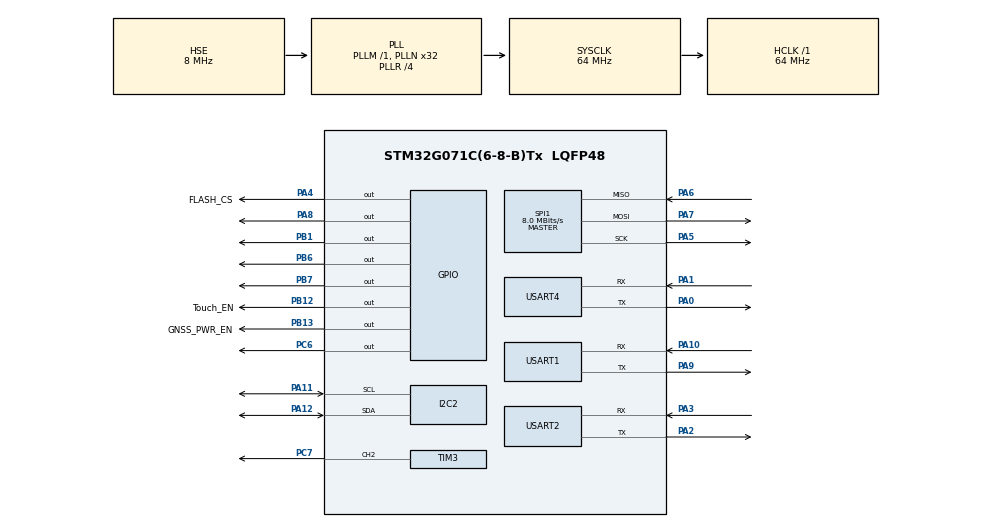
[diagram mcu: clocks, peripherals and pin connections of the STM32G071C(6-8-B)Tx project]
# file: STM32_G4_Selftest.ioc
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I2C2.Timing=0x10B17DB5
Mcu.Family=STM32G0
Mcu.Name=STM32G071C(6-8-B)Tx
Mcu.Package=LQFP48
NVIC.USART1_IRQn=true\:0\:0\:false\:false\:true\:true\:true\:true
NVIC.USART2_IRQn=true\:0\:0\:false\:false\:true\:true\:true\:true
NVIC.USART3_4_LPUART1_IRQn=true\:0\:0\:false\:false\:true\:true\:true\:true
PA0.Mode=Asynchronous
PA0.Signal=USART4_TX
PA1.Mode=Asynchronous
PA1.Signal=USART4_RX
PA10.Mode=Asynchronous
PA10.Signal=USART1_RX
PA11\ [PA9].Mode=I2C
PA11\ [PA9].Signal=I2C2_SCL
PA12\ [PA10].Mode=I2C
PA12\ [PA10].Signal=I2C2_SDA
PA13.Mode=Serial_Wire
PA13.Signal=SYS_SWDIO
PA14-BOOT0.Mode=Serial_Wire
PA14-BOOT0.Signal=SYS_SWCLK
PA2.Mode=Asynchronous
PA2.Signal=USART2_TX
PA3.Mode=Asynchronous
PA3.Signal=USART2_RX
PA4.GPIO_Label=FLASH_CS
PA4.Signal=GPIO_Output
PA5.Mode=Full_Duplex_Master
PA5.Signal=SPI1_SCK
PA6.Mode=Full_Duplex_Master
PA6.Signal=SPI1_MISO
PA7.Mode=Full_Duplex_Master
PA7.Signal=SPI1_MOSI
PA8.Signal=GPIO_Output
PA9.Mode=Asynchronous
PA9.Signal=USART1_TX
PB1.Signal=GPIO_Output
PB12.GPIO_Label=Touch_EN
PB12.PinState=GPIO_PIN_SET
PB12.Signal=GPIO_Output
PB13.GPIO_Label=GNSS_PWR_EN
PB13.PinState=GPIO_PIN_SET
PB13.Signal=GPIO_Output
PB6.Signal=GPIO_Output
PB7.Signal=GPIO_Output
PC14-OSC32_IN\ (PC14).Mode=LSE-External-Oscillator
PC14-OSC32_IN\ (PC14).Signal=RCC_OSC32_IN
PC15-OSC32_OUT\ (PC15).Mode=LSE-External-Oscillator
PC15-OSC32_OUT\ (PC15).Signal=RCC_OSC32_OUT
PC6.Signal=GPIO_Output
PC7.Signal=S_TIM3_CH2
PF0-OSC_IN\ (PF0).Mode=HSE-External-Oscillator
PF0-OSC_IN\ (PF0).Signal=RCC_OSC_IN
PF1-OSC_OUT\ (PF1).Mode=HSE-External-Oscillator
PF1-OSC_OUT\ (PF1).Signal=RCC_OSC_OUT
ProjectManager.HeapSize=0x200
ProjectManager.StackSize=0x400
ProjectManager.TargetToolchain=CMake
RCC.ADCFreq_Value=64000000
RCC.AHBFreq_Value=64000000
RCC.CortexFreq_Value=64000000
RCC.EXTERNAL_CLOCK_VALUE=48000
RCC.EnbaleCSS=true
RCC.HCLKFreq_Value=64000000
RCC.HSE_VALUE=8000000
RCC.HSI_VALUE=16000000
RCC.PLLN=32
RCC.PLLR=RCC_PLLR_DIV4
RCC.PLLSourceVirtual=RCC_PLLSOURCE_HSE
RCC.SYSCLKFreq_VALUE=64000000
RCC.SYSCLKSource=RCC_SYSCLKSOURCE_PLLCLK
RCC.USART2CLockSelection=RCC_USART2CLKSOURCE_SYSCLK
RCC.VCOOutputFreq_Value=256000000
SH.S_TIM3_CH2.0=TIM3_CH2,PWM Generation2 CH2
SPI1.BaudRatePrescaler=SPI_BAUDRATEPRESCALER_8
SPI1.CLKPhase=SPI_PHASE_1EDGE
SPI1.CLKPolarity=SPI_POLARITY_LOW
SPI1.CalculateBaudRate=8.0 MBits/s
SPI1.DataSize=SPI_DATASIZE_8BIT
SPI1.Direction=SPI_DIRECTION_2LINES
SPI1.FirstBit=SPI_FIRSTBIT_MSB
SPI1.Mode=SPI_MODE_MASTER
SPI1.NSSPMode=SPI_NSS_PULSE_DISABLE
SPI1.VirtualType=VM_MASTER
TIM3.Channel-PWM\ Generation2\ CH2=TIM_CHANNEL_2
TIM3.Period=999
TIM3.Prescaler=63
USART1.VirtualMode-Asynchronous=VM_ASYNC
USART2.VirtualMode-Asynchronous=VM_ASYNC
USART4.VirtualMode-Asynchronous=VM_ASYNC
VP_TIM3_VS_ClockSourceINT.Mode=Internal
board=custom

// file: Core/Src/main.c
/* USER CODE BEGIN Header */
/**
  ******************************************************************************
  * @file           : main.c
  * @brief          : Main program body
  ******************************************************************************
  * @attention
  *
  * Copyright (c) 2025 STMicroelectronics.
  * All rights reserved.
  *
  * This software is licensed under terms that can be found in the LICENSE file
  * in the root directory of this software component.
  * If no LICENSE file comes with this software, it is provided AS-IS.
  *
  ******************************************************************************
  */
/* USER CODE END Header */
#include "main.h"

/* USER CODE BEGIN Includes */
#include "SEGGER_RTT.h"
#include "w25q32.h"
#include "vk16k33.h"
#include "xw12.h"
#include <stdbool.h>
#include <stdio.h>
#include <stdarg.h>
#include "string.h"
/* USER CODE END Includes */

I2C_HandleTypeDef hi2c2;

SPI_HandleTypeDef hspi1;

TIM_HandleTypeDef htim3;

UART_HandleTypeDef huart1;
UART_HandleTypeDef huart2;
UART_HandleTypeDef huart4;

/* USER CODE BEGIN PV */
// 双缓冲区配置
//FOR uart1
#define RX_BUF_SIZE 256  // 增大缓冲区防止溢

uint8_t rx1_buf1[RX_BUF_SIZE];
uint8_t rx1_buf2[RX_BUF_SIZE];
uint8_t *active_buf1 = rx1_buf1;
uint16_t rx1_index = 0;
volatile bool buf1_ready = false;
uint8_t processing_buf1[RX_BUF_SIZE];

//for uart2
uint8_t rx2_buf1[RX_BUF_SIZE];
uint8_t rx2_buf2[RX_BUF_SIZE];
uint8_t *active_buf2 = rx2_buf1;
uint16_t rx2_index = 0;
volatile bool buf2_ready = false;
uint8_t processing_buf2[RX_BUF_SIZE];
/* USER CODE END PV */

void SystemClock_Config(void);
static void MX_GPIO_Init(void);
static void MX_USART2_UART_Init(void);
static void MX_USART1_UART_Init(void);
static void MX_TIM3_Init(void);
static void MX_SPI1_Init(void);
static void MX_I2C2_Init(void);
static void MX_USART4_UART_Init(void);

/* USER CODE BEGIN 0 */

/**
 * @brief  双输出函数：同时输出到RTT和UART4
 * @param  str: 要输出的字符串
 */
void DualOutput_WriteString(const char* str)
{
    // 输出到RTT
    SEGGER_RTT_WriteString(0, str);

    // 输出到UART4
    HAL_UART_Transmit(&huart4, (uint8_t*)str, strlen(str), 1000);
}

/**
 * @brief  双输出函数：同时输出到RTT和UART4（带格式化）
 * @param  format: 格式化字符串
 * @param  ...: 可变参数
 */
void DualOutput_Printf(const char* format, ...)
{
    char buffer[256];
    va_list args;
    va_start(args, format);
    vsnprintf(buffer, sizeof(buffer), format, args);
    va_end(args);

    // 输出到RTT
    SEGGER_RTT_WriteString(0, buffer);

    // 输出到UART4
    HAL_UART_Transmit(&huart4, (uint8_t*)buffer, strlen(buffer), 1000);
}

/**
 * @brief  打印测试结果总结报告
 * @param  gnss_result: GNSS测试结果
 * @param  flash_result: Flash测试结果
 * @param  vk16k33_result: VK16K33测试结果
 * @param  bluetooth_result: 蓝牙测试结果
 * @param  xw12_result: XW12测试结果
 */
void Print_TestSummary(uint8_t gnss_result, uint8_t flash_result, uint8_t vk16k33_result,
                       uint8_t bluetooth_result, uint8_t xw12_result)
{
    // 打印总的测试结果汇总
    DualOutput_WriteString("\r\n");
    DualOutput_WriteString("========================================\r\n");
    DualOutput_WriteString("          SELF-TEST SUMMARY REPORT       \r\n");
    DualOutput_WriteString("========================================\r\n");
    DualOutput_Printf("1. GNSS Module (UART1):      %s\r\n", gnss_result ? "PASSED" : "FAILED");
    DualOutput_Printf("2. W25Q32 Flash (SPI1):      %s\r\n", flash_result ? "PASSED" : "FAILED");
    DualOutput_Printf("3. VK16K33 Display (I2C2):   %s\r\n", vk16k33_result ? "PASSED" : "FAILED");
    DualOutput_Printf("4. Bluetooth Module (UART2): %s\r\n", bluetooth_result ? "PASSED" : "FAILED");
    DualOutput_Printf("5. XW12 Touch (I2C GPIO):    %s\r\n", xw12_result ? "PASSED" : "FAILED");
    DualOutput_WriteString("----------------------------------------\r\n");

    // 计算总体测试结果
    uint8_t total_passed = gnss_result + flash_result + vk16k33_result + bluetooth_result + xw12_result;
    bool all_tests_passed = (total_passed == 5);

    DualOutput_Printf("Total Tests Passed: %d/5\r\n", total_passed);
    DualOutput_Printf("Overall Result:     %s\r\n", all_tests_passed ? "PASSED" : "FAILED");
    DualOutput_WriteString("========================================\r\n");

    if(all_tests_passed) {
        DualOutput_WriteString("✓ ALL SYSTEMS OPERATIONAL\r\n");
    } else {
        DualOutput_WriteString("✗ SOME SYSTEMS FAILED - CHECK ABOVE\r\n");
    }
    DualOutput_WriteString("========================================\r\n\r\n");
}

/**
 * @brief  蓝牙模组UART2自测函数
 * @retval 0: 测试失败, 1: 测试成功
 */
uint8_t Bluetooth_SelfTest(void)
{
    SEGGER_RTT_WriteString(0, "=== Bluetooth Module Test Start ===\r\n");

    // 清空接收缓冲区
    memset(processing_buf2, 0, RX_BUF_SIZE);
    memset(active_buf2, 0, RX_BUF_SIZE);
    buf2_ready = false;
    rx2_index = 0;

    // 重新启动UART2中断接收（单字节模式）
    HAL_UART_Receive_IT(&huart2, &active_buf2[rx2_index], 1);

    // 发送AT+NAME?指令
    char at_command[] = "AT+NAME?\r\n";
    SEGGER_RTT_WriteString(0, "Sending: AT+NAME?\\r\\n\r\n");

    HAL_UART_Transmit(&huart2, (uint8_t*)at_command, strlen(at_command), 1000);

    // 等待响应（最多等待3秒）
    uint32_t timeout = HAL_GetTick() + 3000;
    bool response_received = false;

    while(HAL_GetTick() < timeout && !response_received) {
        if(buf2_ready) {
            // 复制接收到的数据到处理缓冲区
            uint8_t* completed_buf = (active_buf2 == rx2_buf1) ? rx2_buf2 : rx2_buf1;
            SEGGER_RTT_printf(0, "Received: %s\r\n", completed_buf);

            // 检查是否包含+NAME:响应
            if(strstr((char*)completed_buf, "+NAME:") != NULL) {
                SEGGER_RTT_WriteString(0, "Bluetooth response: PASSED\r\n");
                response_received = true;
            }

            // 重置缓冲区状态
            buf2_ready = false;
        }
        HAL_Delay(10);
    }

    if(!response_received) {
        SEGGER_RTT_WriteString(0, "Bluetooth response: FAILED (No +NAME: response)\r\n");
        SEGGER_RTT_WriteString(0, "=== Bluetooth Module Test: FAILED ===\r\n");
        return 0;
    }

    SEGGER_RTT_WriteString(0, "=== Bluetooth Module Test: PASSED ===\r\n");
    return 1;
}

/**
 * @brief  GNSS模组UART1自测函数
 * @retval 0: 测试失败, 1: 测试成功
 */
uint8_t GNSS_SelfTest(void)
{
    SEGGER_RTT_WriteString(0, "=== GNSS Module Test Start ===\r\n");

    // 清空接收缓冲区
    memset(processing_buf1, 0, RX_BUF_SIZE);
    memset(active_buf1, 0, RX_BUF_SIZE);
    buf1_ready = false;
    rx1_index = 0;

    // 启动UART1中断接收（单字节模式）
    HAL_UART_Receive_IT(&huart1, &active_buf1[rx1_index], 1);

    SEGGER_RTT_WriteString(0, "Waiting for GNSS NMEA messages...\r\n");

    // 等待NMEA数据（最多等待10秒）
    uint32_t timeout = HAL_GetTick() + 10000;
    bool nmea_received = false;
    uint8_t valid_message_count = 0;

    while(HAL_GetTick() < timeout && !nmea_received) {
        if(buf1_ready) {
            // 获取完成的缓冲区数据
            uint8_t* completed_buf = (active_buf1 == rx1_buf1) ? rx1_buf2 : rx1_buf1;

            // 检查是否包含有效的NMEA消息
            if(strstr((char*)completed_buf, "$GNGGA") != NULL ||
               strstr((char*)completed_buf, "$GNVTG") != NULL ||
               strstr((char*)completed_buf, "$GNRMC") != NULL ||
               strstr((char*)completed_buf, "$GNGLL") != NULL ||
               strstr((char*)completed_buf, "$GNGSA") != NULL) {

                valid_message_count++;
                SEGGER_RTT_printf(0, "Valid NMEA message #%d received\r\n", valid_message_count);

                // 收到至少2条有效NMEA消息就认为测试通过
                if(valid_message_count >= 2) {
                    SEGGER_RTT_WriteString(0, "GNSS NMEA messages: PASSED\r\n");
                    nmea_received = true;
                }
            }

            // 重置缓冲区状态
            buf1_ready = false;
        }
        HAL_Delay(100);  // 100ms检查间隔
    }

    if(!nmea_received) {
        SEGGER_RTT_WriteString(0, "GNSS response: FAILED (No valid NMEA messages)\r\n");
        SEGGER_RTT_WriteString(0, "=== GNSS Module Test: FAILED ===\r\n");
        return 0;
    }

    SEGGER_RTT_WriteString(0, "=== GNSS Module Test: PASSED ===\r\n");
    return 1;
}

/**
 * @brief  XW12触摸控制器自测函数
 * @retval 0: 测试失败, 1: 测试成功
 */
uint8_t XW12_SelfTest(void)
{
    SEGGER_RTT_WriteString(0, "=== XW12 Touch Controller Test Start ===\r\n");

    // 测试基础I2C通信
    uint16_t test_read = xw12ReadKey();
    SEGGER_RTT_printf(0, "Initial key read: 0x%04X\r\n", test_read);

    // 简单的通信测试 - 如果能读取到数据就认为通信正常
    // XW12在没有按键时通常返回0x0000，有按键时返回非零值
    SEGGER_RTT_WriteString(0, "XW12 I2C communication: PASSED\r\n");
    SEGGER_RTT_WriteString(0, "Note: Touch keys will be monitored in main loop\r\n");

    SEGGER_RTT_WriteString(0, "=== XW12 Touch Controller Test: PASSED ===\r\n");
    return 1;
}

/**
 * @brief  W25Q32 Flash 自测函数
 * @retval 0: 测试失败, 1: 测试成功
 */
uint8_t W25Q32_SelfTest(void)
{
    SEGGER_RTT_WriteString(0, "=== W25Q32 Flash Test Start ===\r\n");

    // 先测试SPI通信基础功能
    SEGGER_RTT_WriteString(0, "Testing SPI communication...\r\n");
    HAL_GPIO_WritePin(FLASH_CS_GPIO_Port, FLASH_CS_Pin, GPIO_PIN_SET);  // CS高
    HAL_Delay(10);
    HAL_GPIO_WritePin(FLASH_CS_GPIO_Port, FLASH_CS_Pin, GPIO_PIN_RESET);  // CS低
    uint8_t test_tx = 0x9F;  // JEDEC ID命令
    uint8_t test_rx = 0;
    HAL_SPI_TransmitReceive(&hspi1, &test_tx, &test_rx, 1, 1000);
    HAL_GPIO_WritePin(FLASH_CS_GPIO_Port, FLASH_CS_Pin, GPIO_PIN_SET);  // CS高
    SEGGER_RTT_printf(0, "SPI test - TX: 0x%02X, RX: 0x%02X\r\n", test_tx, test_rx);

    // 初始化W25Q32
    W25Q32_Init();

    // 读取详细的芯片信息
    uint8_t manufacturer_id, memory_type, capacity;
    W25Q32_ReadJEDECID(&manufacturer_id, &memory_type, &capacity);
    SEGGER_RTT_printf(0, "JEDEC ID - Manufacturer: 0x%02X, Type: 0x%02X, Capacity: 0x%02X\r\n",
                      manufacturer_id, memory_type, capacity);

    // 读取设备ID
    uint8_t device_id = W25Q32_ReadID();
    SEGGER_RTT_printf(0, "Device ID: 0x%02X ", device_id);

    // 验证芯片（W25Q32的典型值）
    bool chip_valid = false;
    if(manufacturer_id == 0xEF) {  // Winbond
        if(capacity == 0x15) {  // 32Mbit (4MB)
            SEGGER_RTT_WriteString(0, "(W25Q32 - Valid)\r\n");
            chip_valid = true;
        } else if(capacity == 0x14) {  // 16Mbit (2MB)
            SEGGER_RTT_WriteString(0, "(W25Q16 - Valid)\r\n");
            chip_valid = true;
        } else if(capacity == 0x16) {  // 64Mbit (8MB)
            SEGGER_RTT_WriteString(0, "(W25Q64 - Valid)\r\n");
            chip_valid = true;
        } else {
            SEGGER_RTT_printf(0, "(Unknown Winbond Flash - Capacity: 0x%02X)\r\n", capacity);
            chip_valid = true;  // 仍然是有效的Winbond芯片
        }
    } else {
        SEGGER_RTT_printf(0, "(Unknown Manufacturer - Expected Winbond 0xEF)\r\n");
        chip_valid = false;
    }

    // 如果芯片ID无效，直接返回失败
    if(!chip_valid) {
        SEGGER_RTT_WriteString(0, "=== W25Q32 Flash Test: FAILED (Invalid Chip) ===\r\n");
        return 0;
    }

    // 测试数据准备
    uint8_t write_buffer[32] = "Hello W25Q32 Flash Test!";
    uint8_t read_buffer[32] = {0};
    uint32_t test_address = 0x0000;  // 测试地址
    uint16_t data_length = strlen((char*)write_buffer) + 1;  // 包含结束符

    // Step 1: 擦除扇区
    SEGGER_RTT_WriteString(0, "Step 1: Erasing sector 0...\r\n");
    W25Q32_Erase_Sector(0);

    // 验证擦除结果 - 读取应该全是0xFF
    W25Q32_Read_Data(read_buffer, test_address, data_length);
    bool erase_ok = true;
    for(int i = 0; i < data_length; i++) {
        if(read_buffer[i] != 0xFF) {
            erase_ok = false;
            break;
        }
    }

    if(erase_ok) {
        SEGGER_RTT_WriteString(0, "Erase verification: PASS\r\n");
    } else {
        SEGGER_RTT_WriteString(0, "Erase verification: FAIL\r\n");
    }

    // Step 2: 写入数据
    SEGGER_RTT_printf(0, "Step 2: Writing data: '%s'\r\n", write_buffer);
    W25Q32_Write(write_buffer, test_address, data_length);

    // Step 3: 读取并验证写入的数据
    memset(read_buffer, 0, sizeof(read_buffer));  // 清空读取缓冲区
    W25Q32_Read_Data(read_buffer, test_address, data_length);

    bool write_ok = (strcmp((char*)write_buffer, (char*)read_buffer) == 0);
    if(write_ok) {
        SEGGER_RTT_printf(0, "Read data: '%s' - MATCH\r\n", read_buffer);
        SEGGER_RTT_WriteString(0, "Write/Read verification: PASS\r\n");
    } else {
        SEGGER_RTT_printf(0, "Read data: '%s' - MISMATCH\r\n", read_buffer);
        SEGGER_RTT_WriteString(0, "Write/Read verification: FAIL\r\n");
    }

    // Step 4: 再次擦除扇区
    SEGGER_RTT_WriteString(0, "Step 3: Erasing sector again...\r\n");
    W25Q32_Erase_Sector(0);

    // Step 5: 验证擦除后数据确实被删除
    memset(read_buffer, 0, sizeof(read_buffer));  // 清空读取缓冲区
    W25Q32_Read_Data(read_buffer, test_address, data_length);

    bool second_erase_ok = true;
    for(int i = 0; i < data_length; i++) {
        if(read_buffer[i] != 0xFF) {
            second_erase_ok = false;
            break;
        }
    }

    if(second_erase_ok) {
        SEGGER_RTT_WriteString(0, "Second erase verification: PASS\r\n");
    } else {
        SEGGER_RTT_WriteString(0, "Second erase verification: FAIL\r\n");
    }

    // 最终测试结果
    if(chip_valid && erase_ok && write_ok && second_erase_ok) {
        SEGGER_RTT_WriteString(0, "=== W25Q32 Flash Test: SUCCESS ===\r\n");
        return 1;  // 测试成功
    } else {
        SEGGER_RTT_WriteString(0, "=== W25Q32 Flash Test: FAILED ===\r\n");
        return 0;  // 测试失败
    }
}

/* USER CODE END 0 */

int main(void)
{

  /* MCU Configuration--------------------------------------------------------*/

  /* Reset of all peripherals, Initializes the Flash interface and the Systick. */
  HAL_Init();

  /* Configure the system clock */
  SystemClock_Config();

  /* Initialize all configured peripherals */
  MX_GPIO_Init();
  MX_USART2_UART_Init();
  MX_USART1_UART_Init();
  MX_TIM3_Init();
  MX_SPI1_Init();
  MX_I2C2_Init();
  MX_USART4_UART_Init();
  /* USER CODE BEGIN 2 */
  // 启动PWM输出
  HAL_TIM_PWM_Start(&htim3, TIM_CHANNEL_2);

  // 初始化RTT和UART接收
  SEGGER_RTT_Init();
  SEGGER_RTT_WriteString(0, "System Initialized\r\n");
  HAL_UART_Receive_IT(&huart1, &active_buf1[rx1_index], 1);
  HAL_UART_Receive_IT(&huart2, &active_buf2[rx2_index], 1);

  // 测试GNSS模组UART1
  uint8_t gnss_test_result = GNSS_SelfTest();
  if(gnss_test_result == 1) {
    SEGGER_RTT_WriteString(0, "GNSS Self-Test: PASSED\r\n");
  } else {
    SEGGER_RTT_WriteString(0, "GNSS Self-Test: FAILED\r\n");
  }

  // 执行W25Q32 Flash自测
  uint8_t flash_test_result = W25Q32_SelfTest();
  if(flash_test_result == 1) {
    SEGGER_RTT_WriteString(0, "Flash Self-Test: PASSED\r\n");
  } else {
    SEGGER_RTT_WriteString(0, "Flash Self-Test: FAILED\r\n");
  }

  // 初始化并测试VK16K33数码管
  uint8_t vk16k33_test_result = VK16K33_SelfTest();
  if(vk16k33_test_result == 1) {
    SEGGER_RTT_WriteString(0, "VK16K33 Self-Test: PASSED\r\n");
  } else {
    SEGGER_RTT_WriteString(0, "VK16K33 Self-Test: FAILED\r\n");
  }

  // 测试蓝牙模组UART2
  uint8_t bluetooth_test_result = Bluetooth_SelfTest();
  if(bluetooth_test_result == 1) {
    SEGGER_RTT_WriteString(0, "Bluetooth Self-Test: PASSED\r\n");
  } else {
    SEGGER_RTT_WriteString(0, "Bluetooth Self-Test: FAILED\r\n");
  }

  // 测试XW12触摸控制器
  uint8_t xw12_test_result = XW12_SelfTest();
  if(xw12_test_result == 1) {
    SEGGER_RTT_WriteString(0, "XW12 Self-Test: PASSED\r\n");
  } else {
    SEGGER_RTT_WriteString(0, "XW12 Self-Test: FAILED\r\n");
  }

  // 使用封装函数打印测试结果总结（同时输出到RTT和UART4）
  Print_TestSummary(gnss_test_result, flash_test_result, vk16k33_test_result,
                    bluetooth_test_result, xw12_test_result);

  SEGGER_RTT_WriteString(0, "=== All Self-Tests Completed ===\r\n");

  /* USER CODE END 2 */

  /* Infinite loop */
  /* USER CODE BEGIN WHILE */
  uint32_t lastPwmUpdate = 0;
  uint32_t lastDisplayUpdate = 0;
  uint32_t lastXW12Update = 0;
  uint32_t pwmValue = 0;
  uint16_t displayCounter = 0;
  bool increasing = true;

  while (1)
  {
    /* USER CODE END WHILE */

    /* USER CODE BEGIN 3 */
    uint32_t currentTime = HAL_GetTick();

    // PWM占空比渐变控制（每200ms更新一次）
    if(currentTime - lastPwmUpdate >= 500)
    {
        if(increasing)
        {
            pwmValue += 100;  // 增加10%
            if(pwmValue >= 700)
            {
                pwmValue = 700;
                increasing = false;
            }
        }
        else
        {
            if(pwmValue >= 100)
            {
                pwmValue -= 100;  // 减少10%
            }
            else
            {
                pwmValue = 0;
                increasing = true;
            }
        }

        // 更新PWM占空比
        __HAL_TIM_SET_COMPARE(&htim3, TIM_CHANNEL_2, pwmValue);
        lastPwmUpdate = currentTime;

    }

    // 数码管显示更新（每1秒更新一次）
    if(currentTime - lastDisplayUpdate >= 1000)
    {
        VK16K33_DisplayNumber(displayCounter);
        displayCounter++;
        if(displayCounter > 9999) {
            displayCounter = 0;
        }
        lastDisplayUpdate = currentTime;
    }

    // XW12按键读取（每100ms读取一次）
    if(currentTime - lastXW12Update >= 100)
    {
        uint16_t keyValue = xw12ReadKey();
        if(keyValue != 0xFFFF && keyValue != 0x0000) {
            // 有按键按下时才打印
            SEGGER_RTT_printf(0, "XW12 Key: 0x%04X (", keyValue);
            for(uint8_t i = 0; i < 16; i++) {
                if(keyValue & (1 << i)) {
                    SEGGER_RTT_printf(0, "K%d ", i+1);
                }
            }
            SEGGER_RTT_WriteString(0, ")\r\n");
        }
        lastXW12Update = currentTime;
    }

  }
  /* USER CODE END 3 */
}

void SystemClock_Config(void)
{
  RCC_OscInitTypeDef RCC_OscInitStruct = {0};
  RCC_ClkInitTypeDef RCC_ClkInitStruct = {0};

  /** Configure the main internal regulator output voltage
  */
  HAL_PWREx_ControlVoltageScaling(PWR_REGULATOR_VOLTAGE_SCALE1);

  /** Initializes the RCC Oscillators according to the specified parameters
  * in the RCC_OscInitTypeDef structure.
  */
  RCC_OscInitStruct.OscillatorType = RCC_OSCILLATORTYPE_HSE;
  RCC_OscInitStruct.HSEState = RCC_HSE_ON;
  RCC_OscInitStruct.PLL.PLLState = RCC_PLL_ON;
  RCC_OscInitStruct.PLL.PLLSource = RCC_PLLSOURCE_HSE;
  RCC_OscInitStruct.PLL.PLLM = RCC_PLLM_DIV1;
  RCC_OscInitStruct.PLL.PLLN = 32;
  RCC_OscInitStruct.PLL.PLLP = RCC_PLLP_DIV2;
  RCC_OscInitStruct.PLL.PLLQ = RCC_PLLQ_DIV2;
  RCC_OscInitStruct.PLL.PLLR = RCC_PLLR_DIV4;
  if (HAL_RCC_OscConfig(&RCC_OscInitStruct) != HAL_OK)
  {
    Error_Handler();
  }

  /** Initializes the CPU, AHB and APB buses clocks
  */
  RCC_ClkInitStruct.ClockType = RCC_CLOCKTYPE_HCLK|RCC_CLOCKTYPE_SYSCLK
                              |RCC_CLOCKTYPE_PCLK1;
  RCC_ClkInitStruct.SYSCLKSource = RCC_SYSCLKSOURCE_PLLCLK;
  RCC_ClkInitStruct.AHBCLKDivider = RCC_SYSCLK_DIV1;
  RCC_ClkInitStruct.APB1CLKDivider = RCC_HCLK_DIV1;

  if (HAL_RCC_ClockConfig(&RCC_ClkInitStruct, FLASH_LATENCY_2) != HAL_OK)
  {
    Error_Handler();
  }

  /** Enables the Clock Security System
  */
  HAL_RCC_EnableCSS();
}

static void MX_I2C2_Init(void)
{

  hi2c2.Instance = I2C2;
  hi2c2.Init.Timing = 0x10B17DB5;
  hi2c2.Init.OwnAddress1 = 0;
  hi2c2.Init.AddressingMode = I2C_ADDRESSINGMODE_7BIT;
  hi2c2.Init.DualAddressMode = I2C_DUALADDRESS_DISABLE;
  hi2c2.Init.OwnAddress2 = 0;
  hi2c2.Init.OwnAddress2Masks = I2C_OA2_NOMASK;
  hi2c2.Init.GeneralCallMode = I2C_GENERALCALL_DISABLE;
  hi2c2.Init.NoStretchMode = I2C_NOSTRETCH_DISABLE;
  if (HAL_I2C_Init(&hi2c2) != HAL_OK)
  {
    Error_Handler();
  }

  /** Configure Analogue filter
  */
  if (HAL_I2CEx_ConfigAnalogFilter(&hi2c2, I2C_ANALOGFILTER_ENABLE) != HAL_OK)
  {
    Error_Handler();
  }

  /** Configure Digital filter
  */
  if (HAL_I2CEx_ConfigDigitalFilter(&hi2c2, 0) != HAL_OK)
  {
    Error_Handler();
  }

}

static void MX_SPI1_Init(void)
{

  /* SPI1 parameter configuration*/
  hspi1.Instance = SPI1;
  hspi1.Init.Mode = SPI_MODE_MASTER;
  hspi1.Init.Direction = SPI_DIRECTION_2LINES;
  hspi1.Init.DataSize = SPI_DATASIZE_8BIT;
  hspi1.Init.CLKPolarity = SPI_POLARITY_LOW;
  hspi1.Init.CLKPhase = SPI_PHASE_1EDGE;
  hspi1.Init.NSS = SPI_NSS_SOFT;
  hspi1.Init.BaudRatePrescaler = SPI_BAUDRATEPRESCALER_8;
  hspi1.Init.FirstBit = SPI_FIRSTBIT_MSB;
  hspi1.Init.TIMode = SPI_TIMODE_DISABLE;
  hspi1.Init.CRCCalculation = SPI_CRCCALCULATION_DISABLE;
  hspi1.Init.CRCPolynomial = 7;
  hspi1.Init.CRCLength = SPI_CRC_LENGTH_DATASIZE;
  hspi1.Init.NSSPMode = SPI_NSS_PULSE_DISABLE;
  if (HAL_SPI_Init(&hspi1) != HAL_OK)
  {
    Error_Handler();
  }

}

static void MX_TIM3_Init(void)
{

  TIM_ClockConfigTypeDef sClockSourceConfig = {0};
  TIM_MasterConfigTypeDef sMasterConfig = {0};
  TIM_OC_InitTypeDef sConfigOC = {0};

  htim3.Instance = TIM3;
  htim3.Init.Prescaler = 63;
  htim3.Init.CounterMode = TIM_COUNTERMODE_UP;
  htim3.Init.Period = 999;
  htim3.Init.ClockDivision = TIM_CLOCKDIVISION_DIV1;
  htim3.Init.AutoReloadPreload = TIM_AUTORELOAD_PRELOAD_DISABLE;
  if (HAL_TIM_Base_Init(&htim3) != HAL_OK)
  {
    Error_Handler();
  }
  sClockSourceConfig.ClockSource = TIM_CLOCKSOURCE_INTERNAL;
  if (HAL_TIM_ConfigClockSource(&htim3, &sClockSourceConfig) != HAL_OK)
  {
    Error_Handler();
  }
  if (HAL_TIM_PWM_Init(&htim3) != HAL_OK)
  {
    Error_Handler();
  }
  sMasterConfig.MasterOutputTrigger = TIM_TRGO_RESET;
  sMasterConfig.MasterSlaveMode = TIM_MASTERSLAVEMODE_DISABLE;
  if (HAL_TIMEx_MasterConfigSynchronization(&htim3, &sMasterConfig) != HAL_OK)
  {
    Error_Handler();
  }
  sConfigOC.OCMode = TIM_OCMODE_PWM1;
  sConfigOC.Pulse = 0;
  sConfigOC.OCPolarity = TIM_OCPOLARITY_HIGH;
  sConfigOC.OCFastMode = TIM_OCFAST_DISABLE;
  if (HAL_TIM_PWM_ConfigChannel(&htim3, &sConfigOC, TIM_CHANNEL_2) != HAL_OK)
  {
    Error_Handler();
  }
  HAL_TIM_MspPostInit(&htim3);

}

static void MX_USART1_UART_Init(void)
{

  huart1.Instance = USART1;
  huart1.Init.BaudRate = 115200;
  huart1.Init.WordLength = UART_WORDLENGTH_8B;
  huart1.Init.StopBits = UART_STOPBITS_1;
  huart1.Init.Parity = UART_PARITY_NONE;
  huart1.Init.Mode = UART_MODE_TX_RX;
  huart1.Init.HwFlowCtl = UART_HWCONTROL_NONE;
  huart1.Init.OverSampling = UART_OVERSAMPLING_16;
  huart1.Init.OneBitSampling = UART_ONE_BIT_SAMPLE_DISABLE;
  huart1.Init.ClockPrescaler = UART_PRESCALER_DIV1;
  huart1.AdvancedInit.AdvFeatureInit = UART_ADVFEATURE_NO_INIT;
  if (HAL_UART_Init(&huart1) != HAL_OK)
  {
    Error_Handler();
  }
  if (HAL_UARTEx_SetTxFifoThreshold(&huart1, UART_TXFIFO_THRESHOLD_1_8) != HAL_OK)
  {
    Error_Handler();
  }
  if (HAL_UARTEx_SetRxFifoThreshold(&huart1, UART_RXFIFO_THRESHOLD_1_8) != HAL_OK)
  {
    Error_Handler();
  }
  if (HAL_UARTEx_DisableFifoMode(&huart1) != HAL_OK)
  {
    Error_Handler();
  }
  /* USER CODE BEGIN USART1_Init 2 */
  HAL_NVIC_SetPriority(USART1_IRQn, 1, 0);
  HAL_NVIC_EnableIRQ(USART1_IRQn);
  HAL_UART_Receive_IT(&huart1, &active_buf1[rx1_index], 1);
  /* USER CODE END USART1_Init 2 */

}

static void MX_USART2_UART_Init(void)
{

  huart2.Instance = USART2;
  huart2.Init.BaudRate = 115200;
  huart2.Init.WordLength = UART_WORDLENGTH_8B;
  huart2.Init.StopBits = UART_STOPBITS_1;
  huart2.Init.Parity = UART_PARITY_NONE;
  huart2.Init.Mode = UART_MODE_TX_RX;
  huart2.Init.HwFlowCtl = UART_HWCONTROL_NONE;
  huart2.Init.OverSampling = UART_OVERSAMPLING_16;
  huart2.Init.OneBitSampling = UART_ONE_BIT_SAMPLE_DISABLE;
  huart2.Init.ClockPrescaler = UART_PRESCALER_DIV1;
  huart2.AdvancedInit.AdvFeatureInit = UART_ADVFEATURE_NO_INIT;
  if (HAL_UART_Init(&huart2) != HAL_OK)
  {
    Error_Handler();
  }
  if (HAL_UARTEx_SetTxFifoThreshold(&huart2, UART_TXFIFO_THRESHOLD_1_8) != HAL_OK)
  {
    Error_Handler();
  }
  if (HAL_UARTEx_SetRxFifoThreshold(&huart2, UART_RXFIFO_THRESHOLD_1_8) != HAL_OK)
  {
    Error_Handler();
  }
  if (HAL_UARTEx_DisableFifoMode(&huart2) != HAL_OK)
  {
    Error_Handler();
  }
  /* USER CODE BEGIN USART2_Init 2 */
  // 确保UART中断优先级高于定时器中断
  HAL_NVIC_SetPriority(USART2_IRQn, 0, 0);
  HAL_NVIC_EnableIRQ(USART2_IRQn);
  HAL_UART_Receive_IT(&huart2, &active_buf2[rx2_index], 1);
  /* USER CODE END USART2_Init 2 */

}

static void MX_USART4_UART_Init(void)
{

  huart4.Instance = USART4;
  huart4.Init.BaudRate = 115200;
  huart4.Init.WordLength = UART_WORDLENGTH_8B;
  huart4.Init.StopBits = UART_STOPBITS_1;
  huart4.Init.Parity = UART_PARITY_NONE;
  huart4.Init.Mode = UART_MODE_TX_RX;
  huart4.Init.HwFlowCtl = UART_HWCONTROL_NONE;
  huart4.Init.OverSampling = UART_OVERSAMPLING_16;
  huart4.Init.OneBitSampling = UART_ONE_BIT_SAMPLE_DISABLE;
  huart4.Init.ClockPrescaler = UART_PRESCALER_DIV1;
  huart4.AdvancedInit.AdvFeatureInit = UART_ADVFEATURE_NO_INIT;
  if (HAL_UART_Init(&huart4) != HAL_OK)
  {
    Error_Handler();
  }

}

static void MX_GPIO_Init(void)
{
  GPIO_InitTypeDef GPIO_InitStruct = {0};

  /* GPIO Ports Clock Enable */
  __HAL_RCC_GPIOC_CLK_ENABLE();
  __HAL_RCC_GPIOF_CLK_ENABLE();
  __HAL_RCC_GPIOA_CLK_ENABLE();
  __HAL_RCC_GPIOB_CLK_ENABLE();

  /*Configure GPIO pin Output Level */
  HAL_GPIO_WritePin(GPIOA, FLASH_CS_Pin|GPIO_PIN_8, GPIO_PIN_RESET);

  /*Configure GPIO pin Output Level */
  HAL_GPIO_WritePin(GPIOB, GPIO_PIN_1|GPIO_PIN_6|GPIO_PIN_7, GPIO_PIN_RESET);

  /*Configure GPIO pin Output Level */
  HAL_GPIO_WritePin(GPIOB, Touch_EN_Pin|GNSS_PWR_EN_Pin, GPIO_PIN_SET);

  /*Configure GPIO pin Output Level */
  HAL_GPIO_WritePin(GPIOC, GPIO_PIN_6, GPIO_PIN_RESET);

  /*Configure GPIO pins : FLASH_CS_Pin PA8 */
  GPIO_InitStruct.Pin = FLASH_CS_Pin|GPIO_PIN_8;
  GPIO_InitStruct.Mode = GPIO_MODE_OUTPUT_PP;
  GPIO_InitStruct.Pull = GPIO_NOPULL;
  GPIO_InitStruct.Speed = GPIO_SPEED_FREQ_LOW;
  HAL_GPIO_Init(GPIOA, &GPIO_InitStruct);

  /*Configure GPIO pins : PB1 Touch_EN_Pin GNSS_PWR_EN_Pin PB6
                           PB7 */
  GPIO_InitStruct.Pin = GPIO_PIN_1|Touch_EN_Pin|GNSS_PWR_EN_Pin|GPIO_PIN_6
                          |GPIO_PIN_7;
  GPIO_InitStruct.Mode = GPIO_MODE_OUTPUT_PP;
  GPIO_InitStruct.Pull = GPIO_NOPULL;
  GPIO_InitStruct.Speed = GPIO_SPEED_FREQ_LOW;
  HAL_GPIO_Init(GPIOB, &GPIO_InitStruct);

  /*Configure GPIO pin : PC6 */
  GPIO_InitStruct.Pin = GPIO_PIN_6;
  GPIO_InitStruct.Mode = GPIO_MODE_OUTPUT_PP;
  GPIO_InitStruct.Pull = GPIO_NOPULL;
  GPIO_InitStruct.Speed = GPIO_SPEED_FREQ_LOW;
  HAL_GPIO_Init(GPIOC, &GPIO_InitStruct);

}

/* USER CODE BEGIN 4 */
/* UART中断回调 */
void HAL_UART_RxCpltCallback(UART_HandleTypeDef *huart) {
      if (huart == &huart1) {

    	//SEGGER_RTT_WriteString(0, "Timer interrupt occurred!\n");
        uint8_t byte = active_buf1[rx1_index];
        rx1_index++;

        if (byte == '\n' || rx1_index >= RX_BUF_SIZE - 1) {
            active_buf1[rx1_index] = '\0';
            buf1_ready = true;
            rx1_index = 0;
            active_buf1 = (active_buf1 == rx1_buf1) ? rx1_buf2 : rx1_buf1;//切换缓冲�???????????
            // SEGGER_RTT_WriteString(0, "UART1 Data: ");
            // SEGGER_RTT_WriteString(0, (char*)active_buf1);
        }

        HAL_UART_Receive_IT(&huart1, &active_buf1[rx1_index], 1);//继续下一个字节的接收
    }

    if (huart == &huart2) {
        uint8_t byte = active_buf2[rx2_index];
        rx2_index++;

        if (byte == '\n' || rx2_index >= RX_BUF_SIZE - 1) {
            active_buf2[rx2_index] = '\0';
            buf2_ready = true;
            rx2_index = 0;
            active_buf2 = (active_buf2 == rx2_buf1) ? rx2_buf2 : rx2_buf1;//切换缓冲�???????????
            SEGGER_RTT_WriteString(0, "UART2 Data: ");
            SEGGER_RTT_WriteString(0, (char*)active_buf2);
        }

        HAL_UART_Receive_IT(&huart2, &active_buf2[rx2_index], 1);//继续下一个字节的接收
    }
}
/* USER CODE END 4 */

void Error_Handler(void)
{
  __disable_irq();
}
